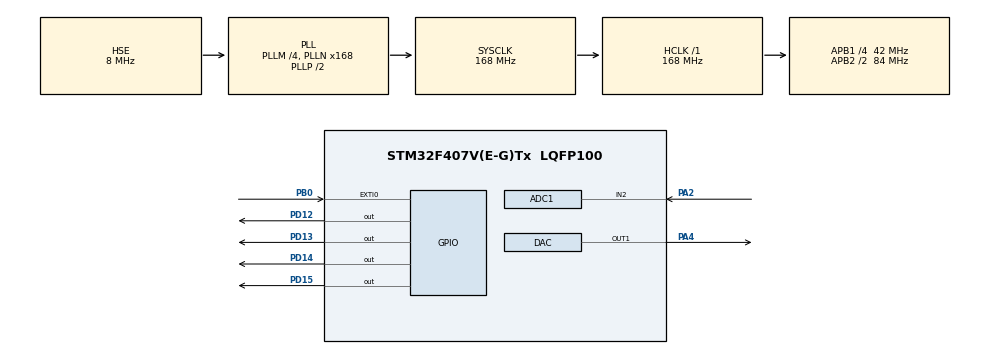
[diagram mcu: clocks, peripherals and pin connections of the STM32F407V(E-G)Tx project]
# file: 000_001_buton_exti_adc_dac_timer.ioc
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ADC1.Channel-1\#ChannelRegularConversion=ADC_CHANNEL_2
ADC1.ContinuousConvMode=ENABLE
ADC1.DMAContinuousRequests=DISABLE
ADC1.NbrOfConversionFlag=1
ADC1.Rank-1\#ChannelRegularConversion=1
ADC1.SamplingTime-1\#ChannelRegularConversion=ADC_SAMPLETIME_56CYCLES
ADC1.master=1
Mcu.Family=STM32F4
Mcu.Name=STM32F407V(E-G)Tx
Mcu.Package=LQFP100
NVIC.ADC_IRQn=true\:0\:0\:true\:false\:true\:true\:true\:true
NVIC.EXTI0_IRQn=true\:0\:0\:false\:false\:true\:true\:true\:true
NVIC.PriorityGroup=NVIC_PRIORITYGROUP_4
PA13.Mode=Serial_Wire
PA13.Signal=SYS_JTMS-SWDIO
PA14.Mode=Serial_Wire
PA14.Signal=SYS_JTCK-SWCLK
PA2.Signal=ADCx_IN2
PA4.Signal=COMP_DAC1_group
PB0.GPIO_ModeDefaultEXTI=GPIO_MODE_IT_RISING
PB0.GPIO_PuPd=GPIO_PULLDOWN
PB0.Signal=GPXTI0
PD12.Signal=GPIO_Output
PD13.Signal=GPIO_Output
PD14.Signal=GPIO_Output
PD15.Signal=GPIO_Output
PH0-OSC_IN.Mode=HSE-External-Oscillator
PH0-OSC_IN.Signal=RCC_OSC_IN
PH1-OSC_OUT.Mode=HSE-External-Oscillator
PH1-OSC_OUT.Signal=RCC_OSC_OUT
ProjectManager.HeapSize=0x200
ProjectManager.StackSize=0x400
ProjectManager.TargetToolchain=STM32CubeIDE
RCC.48MHZClocksFreq_Value=84000000
RCC.AHBFreq_Value=168000000
RCC.APB1CLKDivider=RCC_HCLK_DIV4
RCC.APB1Freq_Value=42000000
RCC.APB1TimFreq_Value=84000000
RCC.APB2CLKDivider=RCC_HCLK_DIV2
RCC.APB2Freq_Value=84000000
RCC.APB2TimFreq_Value=168000000
RCC.CortexFreq_Value=168000000
RCC.HCLKFreq_Value=168000000
RCC.HSE_VALUE=8000000
RCC.HSI_VALUE=16000000
RCC.LSE_VALUE=32768
RCC.PLLM=4
RCC.PLLN=168
RCC.PLLSourceVirtual=RCC_PLLSOURCE_HSE
RCC.SYSCLKFreq_VALUE=168000000
RCC.SYSCLKSource=RCC_SYSCLKSOURCE_PLLCLK
RCC.VCOOutputFreq_Value=336000000
SH.ADCx_IN2.0=ADC1_IN2,IN2
SH.COMP_DAC1_group.0=DAC_OUT1,DAC_OUT1
TIM2.Period=10000
TIM2.Prescaler=41999
VP_TIM2_VS_ClockSourceINT.Mode=Internal
board=custom

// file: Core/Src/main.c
/* USER CODE BEGIN Header */
/**
  ******************************************************************************
  * @file           : main.c
  * @brief          : Main program body
  ******************************************************************************
  * @attention
  *
  * Copyright (c) 2022 STMicroelectronics.
  * All rights reserved.
  *
  * This software is licensed under terms that can be found in the LICENSE file
  * in the root directory of this software component.
  * If no LICENSE file comes with this software, it is provided AS-IS.
  *
  ******************************************************************************
  */
/* USER CODE END Header */
#include "main.h"

ADC_HandleTypeDef hadc1;

DAC_HandleTypeDef hdac;

TIM_HandleTypeDef htim2;

/* USER CODE BEGIN PV */

uint32_t aadc_value=0,atim_value=0,acnt=0;
// pa0 adc, timer2 internal clock ,pa4 dac,pa6 interrupt

/* USER CODE END PV */

void SystemClock_Config(void);
static void MX_GPIO_Init(void);
static void MX_ADC1_Init(void);
static void MX_DAC_Init(void);
static void MX_TIM2_Init(void);

/* USER CODE BEGIN 0 */

// adc interrupt function

void HAL_ADC_ConvCpltCallback(ADC_HandleTypeDef* hadc)
{
	aadc_value=HAL_ADC_GetValue(&hadc1);
}

// istersen exti yi buraya yaz pa6 yada  void EXTI9_5_IRQHandler(void) bunun içine stm32f4xx_it.c de en altta
void HAL_GPIO_EXTI_Callback(uint16_t GPIO_Pin)
{
	acnt++;
	//while(HAL_GPIO_ReadPin(GPIOB, GPIO_PIN_0) ); // basılı oldugu sürece while kalır,bouncing olmaz.

	// interrupt pa6 ,led yak pd15 led.
	HAL_GPIO_TogglePin(GPIOD, GPIO_PIN_15);

	// timer tim2, led pd14 toggle
	atim_value=__HAL_TIM_GET_COUNTER(&htim2); // counter degerini alıyoruz
	if(atim_value>1000){
		HAL_GPIO_TogglePin(GPIOD, GPIO_PIN_14);
	}
	//HAL_TIM_Base_Stop(&htim2);

}

/* // timer interrupt
void HAL_TIM_PeriodElapsedCallback(TIM_HandleTypeDef *htim)
{
	HAL_GPIO_TogglePin(GPIOD, GPIO_PIN_12 );
}
*/

/* USER CODE END 0 */

int main(void)
{

  /* MCU Configuration--------------------------------------------------------*/

  /* Reset of all peripherals, Initializes the Flash interface and the Systick. */
  HAL_Init();

  /* Configure the system clock */
  SystemClock_Config();

  /* Initialize all configured peripherals */
  MX_GPIO_Init();
  MX_ADC1_Init();
  MX_DAC_Init();
  MX_TIM2_Init();
  /* USER CODE BEGIN 2 */

  HAL_ADC_Start_IT(&hadc1);
  HAL_DAC_Start(&hdac,DAC_CHANNEL_1);
  HAL_TIM_Base_Start(&htim2);
  //HAL_ADC_Start_DMA(&hadc1, &adc_value, sizeof(adc_value));
  //HAL_TIM_Base_Start_IT(&htim2);

  /* USER CODE END 2 */

  /* Infinite loop */
  while (1)
  {

    /* USER CODE BEGIN 3 */

	  // adc
	  /*HAL_ADC_Start(&hadc1);
	  if(HAL_ADC_PollForConversion(&hadc1, 100000)==HAL_OK){
		  aadc_value=HAL_ADC_GetValue(&hadc1);
	  }
	  HAL_ADC_Stop(&hadc1);
	*/

	  //dac
	  HAL_DAC_SetValue(&hdac, DAC_CHANNEL_1,DAC_ALIGN_12B_R, aadc_value);

	  //timer
	  atim_value=__HAL_TIM_GET_COUNTER(&htim2); // counter degerini alıyoruz

	  if(atim_value>1000){
		 HAL_GPIO_TogglePin(GPIOD, GPIO_PIN_13);
	  }

  }
  /* USER CODE END 3 */
}

void SystemClock_Config(void)
{
  RCC_OscInitTypeDef RCC_OscInitStruct = {0};
  RCC_ClkInitTypeDef RCC_ClkInitStruct = {0};

  /** Configure the main internal regulator output voltage
  */
  __HAL_RCC_PWR_CLK_ENABLE();
  __HAL_PWR_VOLTAGESCALING_CONFIG(PWR_REGULATOR_VOLTAGE_SCALE1);

  /** Initializes the RCC Oscillators according to the specified parameters
  * in the RCC_OscInitTypeDef structure.
  */
  RCC_OscInitStruct.OscillatorType = RCC_OSCILLATORTYPE_HSE;
  RCC_OscInitStruct.HSEState = RCC_HSE_ON;
  RCC_OscInitStruct.PLL.PLLState = RCC_PLL_ON;
  RCC_OscInitStruct.PLL.PLLSource = RCC_PLLSOURCE_HSE;
  RCC_OscInitStruct.PLL.PLLM = 4;
  RCC_OscInitStruct.PLL.PLLN = 168;
  RCC_OscInitStruct.PLL.PLLP = RCC_PLLP_DIV2;
  RCC_OscInitStruct.PLL.PLLQ = 4;
  if (HAL_RCC_OscConfig(&RCC_OscInitStruct) != HAL_OK)
  {
    Error_Handler();
  }

  /** Initializes the CPU, AHB and APB buses clocks
  */
  RCC_ClkInitStruct.ClockType = RCC_CLOCKTYPE_HCLK|RCC_CLOCKTYPE_SYSCLK
                              |RCC_CLOCKTYPE_PCLK1|RCC_CLOCKTYPE_PCLK2;
  RCC_ClkInitStruct.SYSCLKSource = RCC_SYSCLKSOURCE_PLLCLK;
  RCC_ClkInitStruct.AHBCLKDivider = RCC_SYSCLK_DIV1;
  RCC_ClkInitStruct.APB1CLKDivider = RCC_HCLK_DIV4;
  RCC_ClkInitStruct.APB2CLKDivider = RCC_HCLK_DIV2;

  if (HAL_RCC_ClockConfig(&RCC_ClkInitStruct, FLASH_LATENCY_5) != HAL_OK)
  {
    Error_Handler();
  }
}

static void MX_ADC1_Init(void)
{

  ADC_ChannelConfTypeDef sConfig = {0};

  /** Configure the global features of the ADC (Clock, Resolution, Data Alignment and number of conversion)
  */
  hadc1.Instance = ADC1;
  hadc1.Init.ClockPrescaler = ADC_CLOCK_SYNC_PCLK_DIV4;
  hadc1.Init.Resolution = ADC_RESOLUTION_12B;
  hadc1.Init.ScanConvMode = DISABLE;
  hadc1.Init.ContinuousConvMode = ENABLE;
  hadc1.Init.DiscontinuousConvMode = DISABLE;
  hadc1.Init.ExternalTrigConvEdge = ADC_EXTERNALTRIGCONVEDGE_NONE;
  hadc1.Init.ExternalTrigConv = ADC_SOFTWARE_START;
  hadc1.Init.DataAlign = ADC_DATAALIGN_RIGHT;
  hadc1.Init.NbrOfConversion = 1;
  hadc1.Init.DMAContinuousRequests = DISABLE;
  hadc1.Init.EOCSelection = ADC_EOC_SINGLE_CONV;
  if (HAL_ADC_Init(&hadc1) != HAL_OK)
  {
    Error_Handler();
  }

  /** Configure for the selected ADC regular channel its corresponding rank in the sequencer and its sample time.
  */
  sConfig.Channel = ADC_CHANNEL_2;
  sConfig.Rank = 1;
  sConfig.SamplingTime = ADC_SAMPLETIME_56CYCLES;
  if (HAL_ADC_ConfigChannel(&hadc1, &sConfig) != HAL_OK)
  {
    Error_Handler();
  }

}

static void MX_DAC_Init(void)
{

  DAC_ChannelConfTypeDef sConfig = {0};

  /** DAC Initialization
  */
  hdac.Instance = DAC;
  if (HAL_DAC_Init(&hdac) != HAL_OK)
  {
    Error_Handler();
  }

  /** DAC channel OUT1 config
  */
  sConfig.DAC_Trigger = DAC_TRIGGER_NONE;
  sConfig.DAC_OutputBuffer = DAC_OUTPUTBUFFER_ENABLE;
  if (HAL_DAC_ConfigChannel(&hdac, &sConfig, DAC_CHANNEL_1) != HAL_OK)
  {
    Error_Handler();
  }

}

static void MX_TIM2_Init(void)
{

  TIM_ClockConfigTypeDef sClockSourceConfig = {0};
  TIM_MasterConfigTypeDef sMasterConfig = {0};

  htim2.Instance = TIM2;
  htim2.Init.Prescaler = 41999;
  htim2.Init.CounterMode = TIM_COUNTERMODE_UP;
  htim2.Init.Period = 10000;
  htim2.Init.ClockDivision = TIM_CLOCKDIVISION_DIV1;
  htim2.Init.AutoReloadPreload = TIM_AUTORELOAD_PRELOAD_DISABLE;
  if (HAL_TIM_Base_Init(&htim2) != HAL_OK)
  {
    Error_Handler();
  }
  sClockSourceConfig.ClockSource = TIM_CLOCKSOURCE_INTERNAL;
  if (HAL_TIM_ConfigClockSource(&htim2, &sClockSourceConfig) != HAL_OK)
  {
    Error_Handler();
  }
  sMasterConfig.MasterOutputTrigger = TIM_TRGO_RESET;
  sMasterConfig.MasterSlaveMode = TIM_MASTERSLAVEMODE_DISABLE;
  if (HAL_TIMEx_MasterConfigSynchronization(&htim2, &sMasterConfig) != HAL_OK)
  {
    Error_Handler();
  }

}

static void MX_GPIO_Init(void)
{
  GPIO_InitTypeDef GPIO_InitStruct = {0};

  /* GPIO Ports Clock Enable */
  __HAL_RCC_GPIOH_CLK_ENABLE();
  __HAL_RCC_GPIOA_CLK_ENABLE();
  __HAL_RCC_GPIOB_CLK_ENABLE();
  __HAL_RCC_GPIOD_CLK_ENABLE();

  /*Configure GPIO pin Output Level */
  HAL_GPIO_WritePin(GPIOD, GPIO_PIN_12|GPIO_PIN_13|GPIO_PIN_14|GPIO_PIN_15, GPIO_PIN_RESET);

  /*Configure GPIO pin : PB0 */
  GPIO_InitStruct.Pin = GPIO_PIN_0;
  GPIO_InitStruct.Mode = GPIO_MODE_IT_RISING;
  GPIO_InitStruct.Pull = GPIO_PULLDOWN;
  HAL_GPIO_Init(GPIOB, &GPIO_InitStruct);

  /*Configure GPIO pins : PD12 PD13 PD14 PD15 */
  GPIO_InitStruct.Pin = GPIO_PIN_12|GPIO_PIN_13|GPIO_PIN_14|GPIO_PIN_15;
  GPIO_InitStruct.Mode = GPIO_MODE_OUTPUT_PP;
  GPIO_InitStruct.Pull = GPIO_NOPULL;
  GPIO_InitStruct.Speed = GPIO_SPEED_FREQ_LOW;
  HAL_GPIO_Init(GPIOD, &GPIO_InitStruct);

  /* EXTI interrupt init*/
  HAL_NVIC_SetPriority(EXTI0_IRQn, 0, 0);
  HAL_NVIC_EnableIRQ(EXTI0_IRQn);

}

void Error_Handler(void)
{
  __disable_irq();
  while (1)
  {
  }
}
